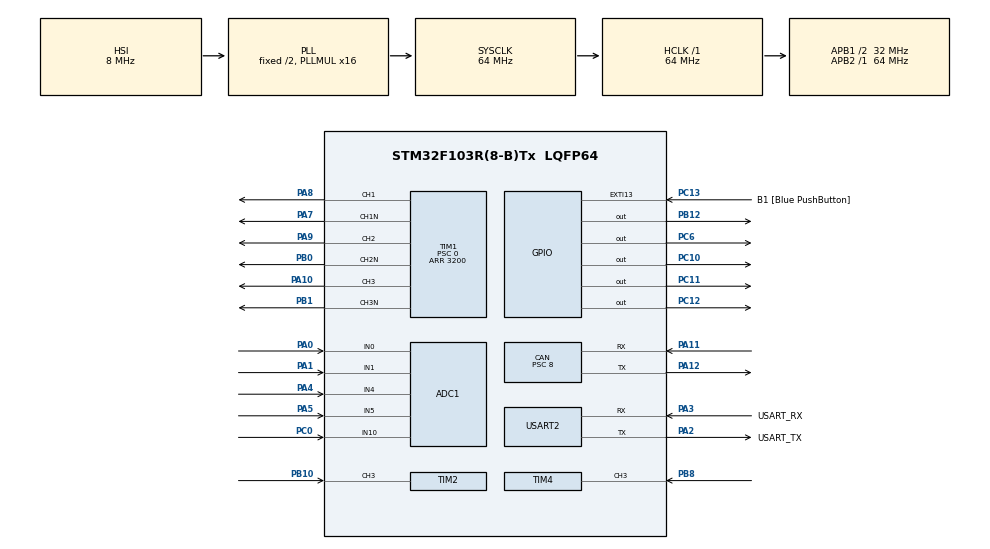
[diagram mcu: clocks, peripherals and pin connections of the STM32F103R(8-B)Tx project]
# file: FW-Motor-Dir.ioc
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ADC1.Channel-74\#ChannelRegularConversion=ADC_CHANNEL_0
ADC1.Channel-75\#ChannelRegularConversion=ADC_CHANNEL_1
ADC1.Channel-76\#ChannelRegularConversion=ADC_CHANNEL_4
ADC1.Channel-77\#ChannelRegularConversion=ADC_CHANNEL_5
ADC1.Channel-78\#ChannelRegularConversion=ADC_CHANNEL_10
ADC1.ContinuousConvMode=ENABLE
ADC1.DataAlign=ADC_DATAALIGN_RIGHT
ADC1.DiscontinuousConvMode=DISABLE
ADC1.EnableAnalogWatchDog=false
ADC1.EnableRegularConversion=ENABLE
ADC1.ExternalTrigConv=ADC_SOFTWARE_START
ADC1.InjNumberOfConversion=0
ADC1.NbrOfConversion=5
ADC1.NbrOfConversionFlag=1
ADC1.Rank-74\#ChannelRegularConversion=1
ADC1.Rank-75\#ChannelRegularConversion=2
ADC1.Rank-76\#ChannelRegularConversion=3
ADC1.Rank-77\#ChannelRegularConversion=4
ADC1.Rank-78\#ChannelRegularConversion=5
ADC1.SamplingTime-74\#ChannelRegularConversion=ADC_SAMPLETIME_1CYCLE_5
ADC1.SamplingTime-75\#ChannelRegularConversion=ADC_SAMPLETIME_1CYCLE_5
ADC1.SamplingTime-76\#ChannelRegularConversion=ADC_SAMPLETIME_1CYCLE_5
ADC1.SamplingTime-77\#ChannelRegularConversion=ADC_SAMPLETIME_1CYCLE_5
ADC1.SamplingTime-78\#ChannelRegularConversion=ADC_SAMPLETIME_1CYCLE_5
ADC1.ScanConvMode=ADC_SCAN_ENABLE
ADC1.master=1
CAN.BS1=CAN_BS1_7TQ
CAN.BS2=CAN_BS2_2TQ
CAN.CalculateTimeBit=2500.00
CAN.CalculateTimeQuantum=250.0
CAN.Prescaler=8
Dma.ADC1.0.Direction=DMA_PERIPH_TO_MEMORY
Dma.ADC1.0.Instance=DMA1_Channel1
Dma.ADC1.0.MemDataAlignment=DMA_MDATAALIGN_WORD
Dma.ADC1.0.MemInc=DMA_MINC_ENABLE
Dma.ADC1.0.Mode=DMA_CIRCULAR
Dma.ADC1.0.PeriphDataAlignment=DMA_PDATAALIGN_WORD
Dma.ADC1.0.PeriphInc=DMA_PINC_DISABLE
Dma.ADC1.0.Priority=DMA_PRIORITY_LOW
Dma.Request0=ADC1
Mcu.Family=STM32F1
Mcu.Name=STM32F103R(8-B)Tx
Mcu.Package=LQFP64
NVIC.DMA1_Channel1_IRQn=true\:0\:0\:false\:false\:true\:true\:true
NVIC.PriorityGroup=NVIC_PRIORITYGROUP_4
NVIC.TIM2_IRQn=true\:0\:0\:false\:false\:true\:true\:true
NVIC.TIM4_IRQn=true\:0\:0\:false\:false\:true\:true\:true
NVIC.USB_LP_CAN1_RX0_IRQn=true\:0\:0\:false\:false\:true\:true\:true
PA0-WKUP.Signal=ADCx_IN0
PA1.Signal=ADCx_IN1
PA10.Signal=S_TIM1_CH3
PA11.Mode=Master
PA11.Signal=CAN_RX
PA12.Mode=Master
PA12.Signal=CAN_TX
PA13.GPIO_Label=TMS
PA13.Mode=Serial_Wire
PA13.Signal=SYS_JTMS-SWDIO
PA14.GPIO_Label=TCK
PA14.Mode=Serial_Wire
PA14.Signal=SYS_JTCK-SWCLK
PA2.GPIO_Label=USART_TX
PA2.GPIO_Mode=GPIO_MODE_AF_PP
PA2.GPIO_PuPd=GPIO_NOPULL
PA2.GPIO_Speed=GPIO_SPEED_FREQ_LOW
PA2.Mode=Asynchronous
PA2.Signal=USART2_TX
PA3.GPIO_Label=USART_RX
PA3.GPIO_Mode=GPIO_MODE_AF_PP
PA3.GPIO_PuPd=GPIO_NOPULL
PA3.GPIO_Speed=GPIO_SPEED_FREQ_LOW
PA3.Mode=Asynchronous
PA3.Signal=USART2_RX
PA4.Signal=ADCx_IN4
PA5.Signal=ADCx_IN5
PA7.Mode=PWM Generation1 CH1 CH1N
PA7.Signal=TIM1_CH1N
PA8.Signal=S_TIM1_CH1
PA9.Signal=S_TIM1_CH2
PB0.Mode=PWM Generation2 CH2 CH2N
PB0.Signal=TIM1_CH2N
PB1.Mode=PWM Generation3 CH3 CH3N
PB1.Signal=TIM1_CH3N
PB10.Signal=S_TIM2_CH3
PB12.Signal=GPIO_Output
PB3.GPIO_Label=SWO
PB3.Signal=SYS_JTDO-TRACESWO
PB8.Signal=S_TIM4_CH3
PC0.Signal=ADCx_IN10
PC10.Signal=GPIO_Output
PC11.Signal=GPIO_Output
PC12.Signal=GPIO_Output
PC13-TAMPER-RTC.GPIO_Label=B1 [Blue PushButton]
PC13-TAMPER-RTC.GPIO_PuPd=GPIO_NOPULL
PC13-TAMPER-RTC.Signal=GPXTI13
PC14-OSC32_IN.Mode=LSE-External-Oscillator
PC14-OSC32_IN.Signal=RCC_OSC32_IN
PC15-OSC32_OUT.Mode=LSE-External-Oscillator
PC15-OSC32_OUT.Signal=RCC_OSC32_OUT
PC6.Signal=GPIO_Output
PD0-OSC_IN.Mode=HSE-External-Clock-Source
PD0-OSC_IN.Signal=RCC_OSC_IN
PD1-OSC_OUT.Mode=HSE-External-Clock-Source
PD1-OSC_OUT.Signal=RCC_OSC_OUT
ProjectManager.HeapSize=0x200
ProjectManager.StackSize=0x400
ProjectManager.TargetToolchain=STM32CubeIDE
RCC.ADCPresc=RCC_ADCPCLK2_DIV8
RCC.AHBFreq_Value=64000000
RCC.APB1CLKDivider=RCC_HCLK_DIV2
RCC.APB1Freq_Value=32000000
RCC.APB1TimFreq_Value=64000000
RCC.APB2Freq_Value=64000000
RCC.APB2TimFreq_Value=64000000
RCC.HCLKFreq_Value=64000000
RCC.PLLMUL=RCC_PLL_MUL16
RCC.RTCClockSelection=RCC_RTCCLKSOURCE_LSE
RCC.SYSCLKFreq_VALUE=64000000
RCC.SYSCLKSource=RCC_SYSCLKSOURCE_PLLCLK
RCC.USBFreq_Value=64000000
SH.ADCx_IN0.0=ADC1_IN0,IN0
SH.ADCx_IN1.0=ADC1_IN1,IN1
SH.ADCx_IN10.0=ADC1_IN10,IN10
SH.ADCx_IN4.0=ADC1_IN4,IN4
SH.ADCx_IN5.0=ADC1_IN5,IN5
SH.S_TIM1_CH1.0=TIM1_CH1,PWM Generation1 CH1 CH1N
SH.S_TIM1_CH2.0=TIM1_CH2,PWM Generation2 CH2 CH2N
SH.S_TIM1_CH3.0=TIM1_CH3,PWM Generation3 CH3 CH3N
SH.S_TIM2_CH3.0=TIM2_CH3,Input_Capture3_from_TI3
SH.S_TIM4_CH3.0=TIM4_CH3,Input_Capture3_from_TI3
TIM1.Channel-PWM\ Generation1\ CH1\ CH1N=TIM_CHANNEL_1
TIM1.Channel-PWM\ Generation2\ CH2\ CH2N=TIM_CHANNEL_2
TIM1.Channel-PWM\ Generation3\ CH3\ CH3N=TIM_CHANNEL_3
TIM1.OCNPolarity_1=TIM_OCNPOLARITY_HIGH
TIM1.Period=3200
TIM1.Prescaler=0
TIM1.Pulse-PWM\ Generation1\ CH1\ CH1N=320
TIM1.Pulse-PWM\ Generation2\ CH2\ CH2N=1600
TIM1.Pulse-PWM\ Generation3\ CH3\ CH3N=1600
TIM1.RepetitionCounter=0
TIM2.Channel-Input_Capture3_from_TI3=TIM_CHANNEL_3
TIM2.Period=65535
TIM2.Prescaler=6399
TIM4.Channel-Input_Capture3_from_TI3=TIM_CHANNEL_3
TIM4.Period=65535
TIM4.Prescaler=6399
USART2.VirtualMode=VM_ASYNC
VP_TIM2_VS_ClockSourceINT.Mode=Internal
VP_TIM4_VS_ClockSourceINT.Mode=Internal
board=NUCLEO-F103RB

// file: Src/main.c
/**
 ******************************************************************************
 * @file           : main.c
 * @brief          : Main program body
 ******************************************************************************
 ** This notice applies to any and all portions of this file
 * that are not between comment pairs USER CODE BEGIN and
 * USER CODE END. Other  portions of this file, whether
 * inserted by the user or by software development tools
 * are owned by their respective copyright owners.
 *
 * COPYRIGHT(c) 2018 STMicroelectronics
 *
 * Redistribution and use in source and binary forms, with or without modification,
 * are permitted provided that the following conditions are met:
 *   1. Redistributions of source code must retain the above copyright notice,
 *      this list of conditions and the following disclaimer.
 *   2. Redistributions in binary form must reproduce the above copyright notice,
 *      this list of conditions and the following disclaimer in the documentation
 *      and/or other materials provided with the distribution.
 *   3. Neither the name of STMicroelectronics nor the names of its contributors
 *      may be used to endorse or promote products derived from this software
 *      without specific prior written permission.
 *
 * THIS SOFTWARE IS PROVIDED BY THE COPYRIGHT HOLDERS AND CONTRIBUTORS "AS IS"
 * AND ANY EXPRESS OR IMPLIED WARRANTIES, INCLUDING, BUT NOT LIMITED TO, THE
 * IMPLIED WARRANTIES OF MERCHANTABILITY AND FITNESS FOR A PARTICULAR PURPOSE ARE
 * DISCLAIMED. IN NO EVENT SHALL THE COPYRIGHT HOLDER OR CONTRIBUTORS BE LIABLE
 * FOR ANY DIRECT, INDIRECT, INCIDENTAL, SPECIAL, EXEMPLARY, OR CONSEQUENTIAL
 * DAMAGES (INCLUDING, BUT NOT LIMITED TO, PROCUREMENT OF SUBSTITUTE GOODS OR
 * SERVICES; LOSS OF USE, DATA, OR PROFITS; OR BUSINESS INTERRUPTION) HOWEVER
 * CAUSED AND ON ANY THEORY OF LIABILITY, WHETHER IN CONTRACT, STRICT LIABILITY,
 * OR TORT (INCLUDING NEGLIGENCE OR OTHERWISE) ARISING IN ANY WAY OUT OF THE USE
 * OF THIS SOFTWARE, EVEN IF ADVISED OF THE POSSIBILITY OF SUCH DAMAGE.
 *
 ******************************************************************************
 */
#include "main.h"
#include "stm32f1xx_hal.h"
#include "adc.h"
#include "can.h"
#include "dma.h"
#include "tim.h"
#include "usart.h"
#include "gpio.h"
#include "power.h"
#include "control.h"
#include "calibrate.h"
#include "GPS.h"

/* USER CODE BEGIN Includes */

/* Ici, définir le mode de fonctionnement du code
 * 0- Calibration
 * 1- Trames 0x010 (CMC)
 * 2- Trames 0x020 (SSC)
 * 3- Trames 0x030 (GPS)
 */

#define MODE 3

/* USER CODE END Includes */

/* USER CODE BEGIN PV */
/* Private variables ---------------------------------------------------------*/
int UPDATE_CMD_FLAG = 1;
int SEND_CAN = 1;

/* Tous ADC sur 12 bits pleine echelle 3.3V
 ADCBUF[0] mesure batterie
 ADCBUF[1] angle volant
 ADCBUF[2] I moteur arriere gauche
 ADCBUF[3] I moteur arriere droit
 ADCBUF[4] I moteur avant
 */
uint32_t ADCBUF[5];

int cmdLRM = 50, cmdRRM = 50, cmdSFM = 50, cmdPOS = 50; // 0 � 100 Moteur gauche, droit, avant, angle avant

uint32_t VMG_mes = 0, VMD_mes = 0, per_vitesseG = 0, per_vitesseD = 0;

/* Enable Moteurs 				*/
/* GPIO_PIN_SET : activation    */
/* GPIO_PIN_RESET : pont ouvert */
GPIO_PinState en_MARG = GPIO_PIN_RESET;
GPIO_PinState en_MARD = GPIO_PIN_RESET;
GPIO_PinState en_MAV = GPIO_PIN_RESET;
GPIO_PinState en_POS = GPIO_PIN_RESET;

/********************************Informations rotation volant********************************/
/* mesure angulaire potentiometre amplitudes volant +/- 17 % environ autour du centre        */
/* PWM = 0.5 (50) % arret, PWM = 0.4 tourne gauche, PWM = 0.6 tourne droite                  */

CanTxMsgTypeDef TxMessage;
CanRxMsgTypeDef RxMessage;
uint8_t data[8] = {0x11, 0x22, 0x33, 0x44, 0x55, 0x66, 0x77, 0x88};

int modeSpeed = 0;
int modeSteer = 0;

// data received in the CAN frame
double latDegPos = 0;
double latMinPos = 0;
double latSecPos = 0;
double latTenPos = 0;
double lonDegPos = 0;
double lonMinPos = 0;
double lonSecPos = 0;
double lonTenPos = 0;

double latDegDes = 0;
double latMinDes = 0;
double latSecDes = 0;
double latTenDes = 0;
double lonDegDes = 0;
double lonMinDes = 0;
double lonSecDes = 0;
double lonTenDes = 0;

// GPS coordinates of the car
double carLatitude = 0;
double carLongitude = 0;
double dist = 0;
double dist_reel = 0;
// GPS coordinates of the location where we want to go
double destLatitude = 0;
double destLongitude = 0;

double alpha = 0;
int pos_OK = 0;

extern CAN_HandleTypeDef hcan;

/* USER CODE END PV */

void SystemClock_Config(void);

/* USER CODE BEGIN PFP */
/* Private function prototypes -----------------------------------------------*/

/* USER CODE END PFP */

/* USER CODE BEGIN 0 */
void HAL_TIM_PeriodElapsedCallback(TIM_HandleTypeDef *htim){
    if (htim->Instance==TIM2)
    {
        VMG_mes = 0;
    } else if (htim->Instance==TIM4){
        VMD_mes = 0;
    }
}

void HAL_TIM_IC_CaptureCallback(TIM_HandleTypeDef *htim)
{
    /***               Mesures des vitesses moteurs                      ***
     * F�quences entr�es micro, sorties capteurs, entre environ 2hz � 80 hz *
     * Timer 2,4 sur 16 bits (65535)cp ->compte p�riode 9999 pour 1s (1Hz)   *
     *                               ->compte p�riode 1000 pour 0.1s (10Hz)  *
     * Rapport r�duction 2279/64 ~ 36 impulsions/tour de roue                *
     * unite de 0.01*tr/mn = 168495/ cp                                     *
     */
    if (htim->Instance==TIM2)
    {
        per_vitesseG =	HAL_TIM_ReadCapturedValue (&htim2,TIM_CHANNEL_3);//PB10
        VMG_mes = 1684949/per_vitesseG ;// X 0.01 tr/mn

        __HAL_TIM_SET_COUNTER(&htim2,0);// mise a zero compteur apres capture
    }
    if (htim->Instance==TIM4)
    {
        per_vitesseD =	HAL_TIM_ReadCapturedValue (&htim4,TIM_CHANNEL_3);//PB8
        VMD_mes = 1684949/per_vitesseD ;// X 0.01 tr/mn

        __HAL_TIM_SET_COUNTER(&htim4,0);// mise a zero compteur apres capture
    }
}

/* USER CODE END 0 */

int main(void)
{
    /* USER CODE BEGIN 1 */
    hcan.pTxMsg = &TxMessage;
    hcan.pRxMsg = &RxMessage;
    /* USER CODE END 1 */

    /* MCU Configuration----------------------------------------------------------*/

    /* Reset of all peripherals, Initializes the Flash interface and the Systick. */
    HAL_Init();

    /* Configure the system clock */
    SystemClock_Config();

    /* Initialize all configured peripherals */
    MX_GPIO_Init();
    power_boostrap();

    MX_DMA_Init();
    MX_USART2_UART_Init();
    MX_TIM1_Init();
    MX_TIM2_Init();
    MX_TIM4_Init();
    MX_ADC1_Init();
    MX_CAN_Init();
    /* USER CODE BEGIN 2 */

    /* Initialisations */

    /* PWM MOTEURS */
    HAL_TIM_PWM_Start(&htim1, TIM_CHANNEL_1);
    HAL_TIM_PWM_Start(&htim1, TIM_CHANNEL_2);
    HAL_TIM_PWM_Start(&htim1, TIM_CHANNEL_3);

    //Sorties complementaires
    HAL_TIMEx_OCN_Start(&htim1,TIM_CHANNEL_1);
    HAL_TIMEx_OCN_Start(&htim1,TIM_CHANNEL_2);
    HAL_TIMEx_OCN_Start(&htim1,TIM_CHANNEL_3);
    /*Vitesse*/
    __HAL_TIM_ENABLE_IT(&htim2, TIM_IT_UPDATE);
    __HAL_TIM_ENABLE_IT(&htim4, TIM_IT_UPDATE);
    HAL_TIM_IC_Start_IT (&htim2,TIM_CHANNEL_3);//autorisation IT capture CH3
    HAL_TIM_IC_Start_IT (&htim4,TIM_CHANNEL_3);//autorisation IT capture CH3

    /* ADC1 */
    HAL_ADC_Start_DMA (&hadc1,ADCBUF,5);

    /* USER CODE END 2 */

    /* Infinite loop */
    /* USER CODE BEGIN WHILE */

    /* Initialisation Steering */
    //steering_Init();

    while (1)
    {
        /* USER CODE END WHILE */
        /* USER CODE BEGIN 3 */

        /* Update motors command*/
        if (UPDATE_CMD_FLAG){
            UPDATE_CMD_FLAG = 0;

			#if (MODE == 0)
            	calibrate();

			#elif (MODE == 1)
            	wheels_set_speed(en_MARD, en_MARG, cmdRRM, cmdLRM);
                en_POS = GPIO_PIN_SET;
                // Assure la non-contradiction des commandes moteurs
                if ((en_MAV == GPIO_PIN_SET) && (en_POS == GPIO_PIN_SET)) {
                	en_MAV = GPIO_PIN_RESET;
                }
                if (!steering_is_a_button_pressed()) {
                    //steering_set_speed(en_MAV, cmdSFM);
                    steering_set_position(en_POS, cmdPOS);
                }
                steering_move_with_button();

			#elif (MODE == 2)
                car_control(modeSpeed, modeSteer);

			#else
                if (latDegDes != 0.0) {
                	destLatitude = dms2dd(latDegDes, latMinDes, latSecDes, latTenDes);
                	destLongitude = dms2dd(lonDegDes, lonMinDes, lonSecDes, lonTenDes);
                	dest_coordinates_to_zero();
                }
                if (latDegPos != 0.0) {
					carLatitude = dms2dd(latDegPos, latMinPos, latSecPos, latTenPos);
					carLongitude = dms2dd(lonDegPos, lonMinPos, lonSecPos, lonTenPos);
					car_coordinates_to_zero();
					dist = get_distance(carLatitude, carLongitude, destLatitude, destLongitude);
					pos_OK = 0;
                	while (pos_OK == 0) {
						dist = go_straight_without_GPS(dist);
						//movement_with_GPS(carLatitude, carLongitude, goLatitude, goLongitude);
					}
					//turn360();
                }
			#endif
        }

        /* CAN */
        // Envoi des mesures
        if (SEND_CAN) {
            SEND_CAN = 0;
            data[0] = (ADCBUF[1] >> 8) & 0xFF; // Vol_mes
            data[1] = ADCBUF[1] & 0xFF;

            data[2] = (ADCBUF[0] >> 8) & 0xFF; // Bat_mes
            data[3] =  ADCBUF[0] & 0xFF;

            data[4] = (pos_OK >> 8) & 0xFF; // pos_OK
            data[5] = pos_OK & 0xFF;

            /*data[6] = (VMD_mes >> 8) & 0xFF; // VMD_mes
            data[7] = VMD_mes & 0xFF;*/

            CAN_Send(data, CAN_ID_MS);
        }

    }
    /* USER CODE END 3 */

}

void SystemClock_Config(void)
{

    RCC_OscInitTypeDef RCC_OscInitStruct;
    RCC_ClkInitTypeDef RCC_ClkInitStruct;
    RCC_PeriphCLKInitTypeDef PeriphClkInit;

    /**Initializes the CPU, AHB and APB busses clocks
     */
    RCC_OscInitStruct.OscillatorType = RCC_OSCILLATORTYPE_HSI;
    RCC_OscInitStruct.HSIState = RCC_HSI_ON;
    RCC_OscInitStruct.HSICalibrationValue = 16;
    RCC_OscInitStruct.PLL.PLLState = RCC_PLL_ON;
    RCC_OscInitStruct.PLL.PLLSource = RCC_PLLSOURCE_HSI_DIV2;
    RCC_OscInitStruct.PLL.PLLMUL = RCC_PLL_MUL16;
    if (HAL_RCC_OscConfig(&RCC_OscInitStruct) != HAL_OK)
    {
        _Error_Handler(__FILE__, __LINE__);
    }

    /**Initializes the CPU, AHB and APB busses clocks
     */
    RCC_ClkInitStruct.ClockType = RCC_CLOCKTYPE_HCLK|RCC_CLOCKTYPE_SYSCLK
    |RCC_CLOCKTYPE_PCLK1|RCC_CLOCKTYPE_PCLK2;
    RCC_ClkInitStruct.SYSCLKSource = RCC_SYSCLKSOURCE_PLLCLK;
    RCC_ClkInitStruct.AHBCLKDivider = RCC_SYSCLK_DIV1;
    RCC_ClkInitStruct.APB1CLKDivider = RCC_HCLK_DIV2;
    RCC_ClkInitStruct.APB2CLKDivider = RCC_HCLK_DIV1;

    if (HAL_RCC_ClockConfig(&RCC_ClkInitStruct, FLASH_LATENCY_2) != HAL_OK)
    {
        _Error_Handler(__FILE__, __LINE__);
    }

    PeriphClkInit.PeriphClockSelection = RCC_PERIPHCLK_ADC;
    PeriphClkInit.AdcClockSelection = RCC_ADCPCLK2_DIV8;
    if (HAL_RCCEx_PeriphCLKConfig(&PeriphClkInit) != HAL_OK)
    {
        _Error_Handler(__FILE__, __LINE__);
    }

    /**Configure the Systick interrupt time
     */
    HAL_SYSTICK_Config(HAL_RCC_GetHCLKFreq()/1000);

    /**Configure the Systick
     */
    HAL_SYSTICK_CLKSourceConfig(SYSTICK_CLKSOURCE_HCLK);

    /* SysTick_IRQn interrupt configuration */
    HAL_NVIC_SetPriority(SysTick_IRQn, 0, 15U);
}

void _Error_Handler(char *file, int line)
{
    /* USER CODE BEGIN Error_Handler_Debug */
    /* User can add his own implementation to report the HAL error return state */
    /*while(1)
     {
     }*/
    /* USER CODE END Error_Handler_Debug */
}

/************************ (C) COPYRIGHT STMicroelectronics *****END OF FILE****/
